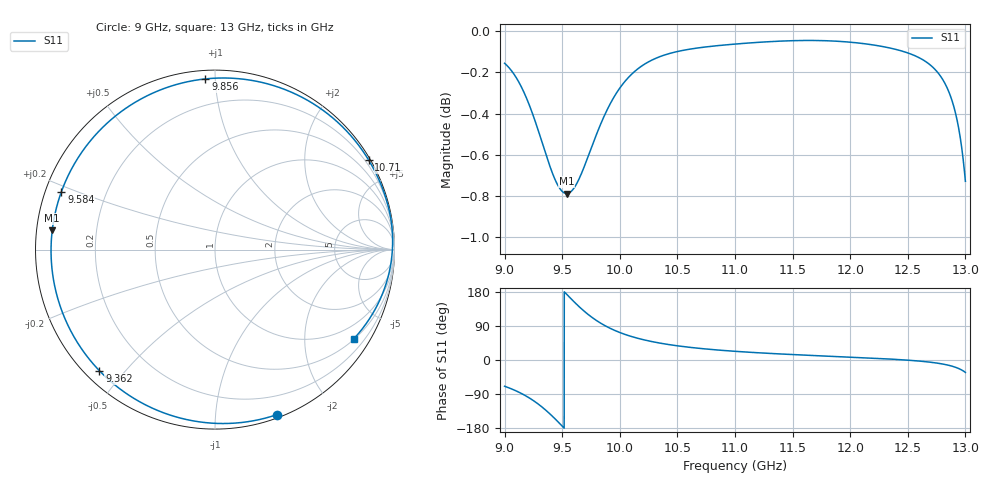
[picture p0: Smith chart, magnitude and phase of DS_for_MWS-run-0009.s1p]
! TOUCHSTONE file generated by CST DESIGN STUDIO
! Date and time: Tue Feb  4 17:22:58 2025
! Project name: C:\Work\MatlabApps\UnitCellOptimizationMatlab\CST\unitcell.cst
! Tree item: Tasks\Sweep1\SPara1\S-Parameters
! Header version: 2024
! Port assignment regex: !\s*Touchstone port\s*([0-9]+)\s*=\s*(CST MWS port|CST DES external port|CST DES block port)\s*(.+)\s* \(\"(.*)\"\)(\s*mode\s*([0-9]+))?.*
! Touchstone port assignment:
! Touchstone port 1 = CST DES external port 1 ("")
# GHz S MA R 50
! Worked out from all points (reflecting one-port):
!   4001 points, 9 GHz to 13 GHz, reference 50 ohm
!   lowest |S11| = -0.8 dB at 9.539 GHz (marker M1), VSWR 22.03, Z = 2.28 + j2.92 ohm
!   phase of S11 starts at -69 deg and turns -323 deg over the sweep
!   S11 on the Smith chart (normalised r, x): 9 GHz: 0.03, -1.45; 9.362 GHz: 0.04, -0.43; 9.584 GHz: 0.05, +0.18; 9.856 GHz: 0.05, +0.94; 10.71 GHz: 0.07, +3.71; 13 GHz: 0.52, -3.34
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9  0.9822 -69.3
9.1  0.9744 -81.5
9.212  0.9599 -99.7
9.29  0.9464 -115.8
9.362  0.9328 -133.6
9.436  0.9206 -154.7
9.5  0.9143 -174.4
9.539  0.9132 173.3
9.584  0.9146 159.3
9.651  0.9213 139.6
9.715  0.9307 122.7
9.782  0.9415 107.4
9.856  0.9525 93.2
9.927  0.9614 82.0
10  0.9687 72.5
10.101  0.9761 62.0
10.215  0.9818 52.8
10.346  0.9858 44.7
10.5  0.9887 37.5
10.71  0.991 30.1
11  0.9928 22.9
11.5  0.9947 14.3
12  0.9939 7.5
12.5  0.9879 -0.4
12.678  0.9821 -5.2
12.811  0.9725 -11.1
12.919  0.9539 -19.7
13  0.9194 -32.7
